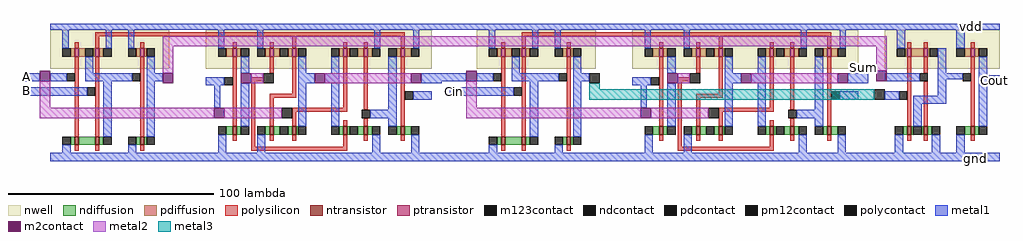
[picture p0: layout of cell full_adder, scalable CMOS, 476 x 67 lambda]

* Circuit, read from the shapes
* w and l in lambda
.subckt full_adder A B Cin Cout Sum gnd vdd
M1 n1 A gnd VSUBS nfet w=4 l=2
M2 half_adder_0/NAND_0/out B n1 VSUBS nfet w=4 l=2
M3 NOR_0/B half_adder_0/NAND_0/out gnd VSUBS nfet w=4 l=2
M4 n2 A gnd VSUBS nfet w=4 l=2
M5 n3 B gnd VSUBS nfet w=4 l=2
M6 half_adder_1/A A n3 VSUBS nfet w=4 l=2
M7 n4 n2 half_adder_1/A VSUBS nfet w=4 l=2
M8 gnd n5 n4 VSUBS nfet w=4 l=2
M9 gnd B n5 VSUBS nfet w=4 l=2
M10 n6 half_adder_1/A gnd VSUBS nfet w=4 l=2
M11 half_adder_1/NAND_0/out Cin n6 VSUBS nfet w=4 l=2
M12 NOR_0/A half_adder_1/NAND_0/out gnd VSUBS nfet w=4 l=2
M13 n7 half_adder_1/A gnd VSUBS nfet w=4 l=2
M14 n8 Cin gnd VSUBS nfet w=4 l=2
M15 Sum half_adder_1/A n8 VSUBS nfet w=4 l=2
M16 n9 n7 Sum VSUBS nfet w=4 l=2
M17 gnd n10 n9 VSUBS nfet w=4 l=2
M18 gnd Cin n10 VSUBS nfet w=4 l=2
M19 NOR_0/out NOR_0/A gnd VSUBS nfet w=4 l=2
M20 gnd NOR_0/B NOR_0/out VSUBS nfet w=4 l=2
M21 Cout NOR_0/out gnd VSUBS nfet w=4 l=2
M22 half_adder_0/NAND_0/out A vdd n11 pfet w=4 l=2
M23 vdd B half_adder_0/NAND_0/out n11 pfet w=4 l=2
M24 NOR_0/B half_adder_0/NAND_0/out vdd n11 pfet w=4 l=2
M25 n2 A vdd n12 pfet w=4 l=2
M26 n13 n2 vdd n12 pfet w=4 l=2
M27 half_adder_1/A B n13 n12 pfet w=4 l=2
M28 n14 A half_adder_1/A n12 pfet w=4 l=2
M29 vdd n5 n14 n12 pfet w=4 l=2
M30 vdd B n5 n12 pfet w=4 l=2
M31 half_adder_1/NAND_0/out half_adder_1/A vdd n15 pfet w=4 l=2
M32 vdd Cin half_adder_1/NAND_0/out n15 pfet w=4 l=2
M33 NOR_0/A half_adder_1/NAND_0/out vdd n15 pfet w=4 l=2
M34 n7 half_adder_1/A vdd n16 pfet w=4 l=2
M35 n17 n7 vdd n16 pfet w=4 l=2
M36 Sum Cin n17 n16 pfet w=4 l=2
M37 n18 half_adder_1/A Sum n16 pfet w=4 l=2
M38 vdd n10 n18 n16 pfet w=4 l=2
M39 vdd Cin n10 n16 pfet w=4 l=2
M40 n19 NOR_0/A vdd n20 pfet w=4 l=2
M41 NOR_0/out NOR_0/B n19 n20 pfet w=4 l=2
M42 Cout NOR_0/out vdd n20 pfet w=4 l=2
.ends

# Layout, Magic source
magic
tech scmos
<< nwell >>
rect 448 45 472 64
<< ntransistor >>
rect 458 13 460 17
<< ptransistor >>
rect 458 51 460 55
<< ndiffusion >>
rect 455 13 458 17
rect 460 13 462 17
<< pdiffusion >>
rect 455 51 458 55
rect 460 51 462 55
<< ndcontact >>
rect 451 13 455 17
rect 462 13 466 17
<< pdcontact >>
rect 451 51 455 55
rect 462 51 466 55
<< polysilicon >>
rect 458 55 460 58
rect 458 17 460 51
rect 458 10 460 13
<< polycontact >>
rect 454 39 458 43
<< metal1 >>
rect 195 64 217 67
rect 403 64 418 67
rect 446 64 472 67
rect 451 55 455 64
rect 404 43 408 47
rect -4 39 0 43
rect 200 39 208 43
rect 448 40 454 43
rect 462 42 466 51
rect 462 38 472 42
rect -4 32 0 36
rect 204 32 208 36
rect 462 17 466 38
rect 451 4 455 13
rect 195 0 217 4
rect 403 0 418 4
rect 447 0 472 4
<< m2contact >>
rect 64 38 69 43
rect 412 39 417 44
<< metal2 >>
rect 64 56 417 61
rect 64 43 69 56
rect 412 44 417 56
<< m123contact >>
rect 272 38 277 43
rect 411 30 416 35
<< metal3 >>
rect 272 35 277 38
rect 272 30 411 35
use half_adder  half_adder_0
transform 1 0 9 0 1 0
box -9 0 191 67
use half_adder  half_adder_1
transform 1 0 217 0 1 0
box -9 0 191 67
use NOR  NOR_0
transform 1 0 443 0 1 44
box -27 -44 5 23
<< labels >>
rlabel metal1 469 39 470 40 7 Cout
rlabel metal1 205 33 207 35 1 Cin
rlabel metal1 457 65 460 66 5 vdd
rlabel metal1 459 1 462 2 1 gnd
rlabel metal1 -3 41 -2 42 3 A
rlabel metal1 -3 34 -2 35 3 B
rlabel metal1 405 45 406 46 1 Sum
<< end >>

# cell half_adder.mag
magic
tech scmos
<< nwell >>
rect 36 45 58 64
<< ntransistor >>
rect 44 8 46 12
<< ptransistor >>
rect 44 51 46 55
<< ndiffusion >>
rect 42 8 44 12
rect 46 8 47 12
<< pdiffusion >>
rect 42 51 44 55
rect 46 51 47 55
<< ndcontact >>
rect 38 8 42 12
rect 47 8 51 12
<< pdcontact >>
rect 38 51 42 55
rect 47 51 51 55
<< polysilicon >>
rect 22 61 119 63
rect 22 58 24 61
rect 44 55 46 58
rect 44 12 46 51
rect 44 5 46 8
<< polycontact >>
rect 40 39 44 43
<< metal1 >>
rect 36 64 76 67
rect 38 55 41 64
rect -9 39 -5 43
rect 47 43 51 51
rect 36 39 40 43
rect 47 39 55 43
rect -9 32 4 36
rect 47 12 51 39
rect 186 38 191 43
rect 38 4 42 8
rect 36 0 76 4
<< m2contact >>
rect -5 39 0 44
<< metal2 >>
rect -5 26 0 39
rect -5 21 80 26
use XOR  XOR_0
transform 1 0 -32 0 1 -23
box 108 23 218 90
use NAND  NAND_0
transform 1 0 21 0 1 42
box -21 -42 15 25
<< labels >>
rlabel metal1 68 65 71 66 5 vdd
rlabel metal1 -8 40 -6 42 3 A
rlabel metal1 -8 33 -6 35 3 B
rlabel metal1 52 40 54 42 1 Cout
rlabel metal1 188 40 189 41 7 Sum
rlabel metal1 62 2 65 3 1 gnd
<< end >>

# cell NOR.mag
magic
tech scmos
<< nwell >>
rect -27 1 5 20
<< ntransistor >>
rect -16 -31 -14 -27
rect -8 -31 -6 -27
<< ptransistor >>
rect -16 7 -14 11
rect -8 7 -6 11
<< ndiffusion >>
rect -18 -31 -16 -27
rect -14 -31 -13 -27
rect -9 -31 -8 -27
rect -6 -31 -4 -27
<< pdiffusion >>
rect -17 7 -16 11
rect -14 7 -8 11
rect -6 7 -5 11
<< ndcontact >>
rect -22 -31 -18 -27
rect -13 -31 -9 -27
rect -4 -31 0 -27
<< pdcontact >>
rect -21 7 -17 11
rect -5 7 -1 11
<< polysilicon >>
rect -16 11 -14 14
rect -8 11 -6 14
rect -16 -27 -14 7
rect -8 -1 -6 7
rect -8 -27 -6 -5
rect -16 -34 -14 -31
rect -8 -34 -6 -31
<< polycontact >>
rect -20 -14 -16 -10
rect -10 -5 -6 -1
<< metal1 >>
rect -27 20 5 23
rect -21 11 -17 20
rect -1 -1 3 11
rect -27 -5 -10 -1
rect -1 -4 5 -1
rect -27 -14 -20 -10
rect -1 -12 3 -4
rect -13 -16 3 -12
rect -13 -27 -9 -16
rect -22 -40 -18 -31
rect -4 -40 0 -31
rect -27 -44 5 -40
<< labels >>
rlabel metal1 -19 21 -17 22 5 vdd
rlabel metal1 -25 -4 -23 -3 3 B
rlabel metal1 1 -3 3 -2 7 out
rlabel metal1 -12 -43 -10 -42 1 gnd
rlabel metal1 -26 -13 -24 -12 3 A
<< end >>

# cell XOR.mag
magic
tech scmos
<< nwell >>
rect 108 68 218 87
<< ntransistor >>
rect 121 36 123 40
rect 139 36 141 40
rect 150 36 152 40
rect 175 36 177 40
rect 185 36 187 40
rect 203 36 205 40
<< ptransistor >>
rect 121 74 123 78
rect 139 74 141 78
rect 150 74 152 78
rect 175 74 177 78
rect 185 74 187 78
rect 203 74 205 78
<< ndiffusion >>
rect 118 36 121 40
rect 123 36 125 40
rect 137 36 139 40
rect 141 36 144 40
rect 148 36 150 40
rect 152 36 153 40
rect 173 36 175 40
rect 177 36 178 40
rect 182 36 185 40
rect 187 36 189 40
rect 201 36 203 40
rect 205 36 208 40
<< pdiffusion >>
rect 118 74 121 78
rect 123 74 125 78
rect 137 74 139 78
rect 141 74 144 78
rect 148 74 150 78
rect 152 74 153 78
rect 173 74 175 78
rect 177 74 178 78
rect 182 74 185 78
rect 187 74 189 78
rect 201 74 203 78
rect 205 74 208 78
<< ndcontact >>
rect 114 36 118 40
rect 125 36 129 40
rect 133 36 137 40
rect 144 36 148 40
rect 153 36 157 40
rect 169 36 173 40
rect 178 36 182 40
rect 189 36 193 40
rect 197 36 201 40
rect 208 36 212 40
<< pdcontact >>
rect 114 74 118 78
rect 125 74 129 78
rect 133 74 137 78
rect 144 74 148 78
rect 153 74 157 78
rect 169 74 173 78
rect 178 74 182 78
rect 189 74 193 78
rect 197 74 201 78
rect 208 74 212 78
<< polysilicon >>
rect 150 84 205 86
rect 121 78 123 81
rect 139 78 141 81
rect 150 78 152 84
rect 175 78 177 81
rect 185 78 187 81
rect 203 78 205 84
rect 121 40 123 74
rect 139 66 141 74
rect 130 62 136 64
rect 121 33 123 36
rect 130 30 132 62
rect 150 56 152 74
rect 139 54 152 56
rect 139 40 141 54
rect 175 49 177 74
rect 150 47 177 49
rect 185 48 187 74
rect 150 40 152 47
rect 175 40 177 43
rect 185 40 187 44
rect 203 40 205 74
rect 139 33 141 36
rect 150 33 152 36
rect 175 30 177 36
rect 185 33 187 36
rect 203 33 205 36
rect 130 28 177 30
<< polycontact >>
rect 117 60 121 64
rect 184 44 188 48
rect 205 53 209 57
<< metal1 >>
rect 108 87 218 90
rect 114 78 117 87
rect 133 78 136 87
rect 190 78 193 87
rect 209 78 212 87
rect 125 66 129 74
rect 153 66 157 74
rect 169 66 173 74
rect 108 60 117 64
rect 153 61 161 66
rect 166 61 173 66
rect 112 49 115 60
rect 125 40 129 61
rect 153 40 157 61
rect 169 40 173 61
rect 197 48 201 74
rect 213 61 218 66
rect 209 53 218 57
rect 188 44 201 48
rect 197 40 201 44
rect 114 27 118 36
rect 133 27 137 36
rect 189 27 193 36
rect 208 27 212 36
rect 108 23 218 27
<< m2contact >>
rect 125 61 130 66
rect 161 61 166 66
rect 112 44 117 49
rect 208 61 213 66
<< pm12contact >>
rect 136 61 141 66
rect 145 44 150 49
<< metal2 >>
rect 130 61 136 66
rect 166 61 208 66
rect 117 44 145 49
<< labels >>
rlabel metal1 109 61 111 63 3 A
rlabel metal1 164 88 165 89 5 vdd
rlabel metal1 169 24 170 25 1 gnd
rlabel metal1 215 54 216 55 7 B
rlabel metal1 215 63 216 64 7 out
<< end >>

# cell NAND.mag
magic
tech scmos
<< nwell >>
rect -21 3 15 22
<< ntransistor >>
rect -9 -34 -7 -30
rect 1 -34 3 -30
<< ptransistor >>
rect -9 9 -7 13
rect 1 9 3 13
<< ndiffusion >>
rect -11 -34 -9 -30
rect -7 -34 1 -30
rect 3 -34 5 -30
<< pdiffusion >>
rect -11 9 -9 13
rect -7 9 -4 13
rect 0 9 1 13
rect 3 9 5 13
<< ndcontact >>
rect -15 -34 -11 -30
rect 5 -34 9 -30
<< pdcontact >>
rect -15 9 -11 13
rect -4 9 0 13
rect 5 9 9 13
<< polysilicon >>
rect -9 13 -7 16
rect 1 13 3 16
rect -9 -30 -7 9
rect 1 -30 3 9
rect -9 -37 -7 -34
rect 1 -37 3 -34
<< polycontact >>
rect -13 -3 -9 1
rect -3 -10 1 -6
<< metal1 >>
rect -21 22 15 25
rect -15 13 -12 22
rect 6 13 9 22
rect -4 1 0 9
rect -21 -3 -13 1
rect -4 -3 15 1
rect -21 -10 -3 -6
rect 5 -30 9 -3
rect -15 -38 -11 -34
rect -21 -42 15 -38
<< labels >>
rlabel metal1 -20 -41 -18 -39 2 gnd
rlabel metal1 -20 23 -18 25 4 vdd
rlabel metal1 -20 -2 -18 0 3 A
rlabel metal1 -20 -9 -18 -7 3 B
rlabel metal1 11 -2 13 0 7 out
<< end >>
